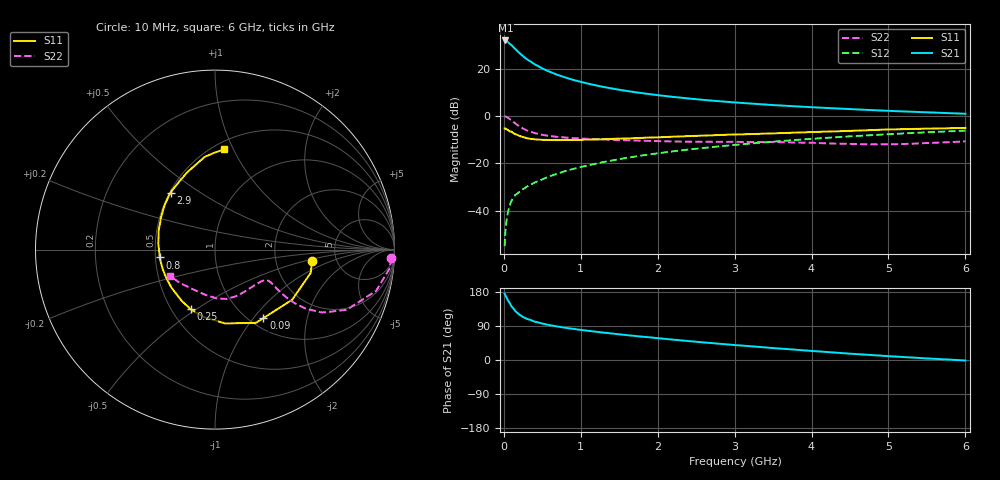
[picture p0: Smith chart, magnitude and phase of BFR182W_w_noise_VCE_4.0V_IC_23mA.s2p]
! Infineon Technologies  Discrete & RF Semiconductors
! BFR182W
! VCE =  4.0 V,  IC =  23 mA
! Common Emitter S-Parameters:  Jan 2017
# GHz  S  MA  R  50
!  f  S11  S21  S12  S22
! GHz  MAG  ANG  MAG  ANG  MAG  ANG  MAG  ANG
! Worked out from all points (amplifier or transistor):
!   77 points, 10 MHz to 6 GHz, reference 50 ohm
!   highest |S21| = 31.8 dB at 20 MHz (marker M1)
!   |S21| within 3 dB of that: start of sweep to 130.4 MHz
!   unconditionally stable (mu >= 1): 796.2 MHz to 2.316 GHz
!   at 130 MHz: K = 0.45, MSG = 31.5 dB, |S12| = -34.2 dB
!   at 2.2 GHz: K = 1.01, MAG = 10.9 dB, |S12| = -14.9 dB
!   at 6 GHz: K = 0.86, MSG = 3.6 dB, |S12| = -6.2 dB
!   lowest NFmin = 1.50 dB at 450 MHz
!   S11 on the Smith chart (normalised r, x): 10 MHz: 3.27, -0.61; 90 MHz: 1.15, -1.12; 250 MHz: 0.62, -0.47; 800 MHz: 0.53, -0.05; 2.9 GHz: 0.51, +0.38; 6 GHz: 0.57, +0.92
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0.01  0.5448 -6.9  39 175.2  0.0018 94.6  0.9818 -2.7
0.02  0.5487 -13.7  39.04 171.0  0.0036 86.5  0.9801 -6.0
0.05  0.5128 -33.0  36.55 158.4  0.0088 77.6  0.9263 -14.4
0.09  0.4673 -54.8  31.89 145.2  0.0149 71.7  0.8281 -22.3
0.1  0.4676 -60.7  31.04 141.3  0.0164 70.9  0.8064 -24.6
0.15  0.415 -82.3  25.7 128.9  0.0217 65.1  0.6928 -30.4
0.2  0.3814 -99.2  21.43 120.1  0.0248 65.9  0.6069 -33.0
0.25  0.3581 -112.4  18.22 113.4  0.0286 62.8  0.5431 -33.9
0.3  0.3408 -122.9  15.69 108.6  0.0324 64.3  0.4951 -34.0
0.4  0.3225 -138.5  12.3 101.3  0.0394 66.6  0.4358 -33.1
0.5  0.314 -149.9  10.04 96.1  0.0461 67.8  0.4001 -32.0
0.6  0.3109 -158.9  8.491 91.8  0.0539 68.7  0.3771 -31.1
0.7  0.3098 -165.7  7.334 88.3  0.061 70.2  0.3619 -30.5
0.8  0.3111 -171.9  6.471 85.0  0.0691 71.0  0.3506 -30.3
1.1  0.3184 173.7  4.781 77.0  0.0915 71.2  0.3293 -31.3
1.5  0.3327 160.0  3.567 67.8  0.1228 69.9  0.3104 -35.3
2.1  0.3595 144.3  2.632 55.7  0.1713 66.8  0.2922 -45.8
2.9  0.4016 128.0  1.985 41.2  0.237 61.1  0.2845 -63.8
3.1  0.4105 124.3  1.879 38.0  0.2536 59.5  0.2834 -68.1
4.1  0.4628 108.3  1.501 22.5  0.3379 50.7  0.2683 -90.4
5.1  0.5234 95.1  1.263 9.0  0.4205 41.0  0.2542 -122.6
6  0.56 84.9  1.112 -1.3  0.4905 31.8  0.2912 -149.9
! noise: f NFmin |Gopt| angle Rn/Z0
0.45  1.5  0.14  -170  0.15
0.9  1.58  0.16  -165  0.16
1.9  2.1  0.31  -139  0.17
2.4  2.38  0.32  -127  0.27
